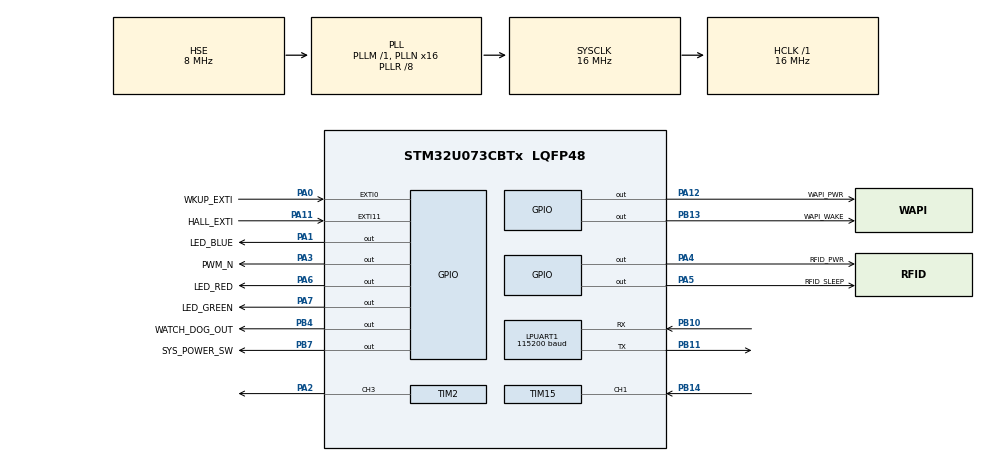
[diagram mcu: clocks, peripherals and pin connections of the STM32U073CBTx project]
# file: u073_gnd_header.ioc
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ADC1.Channel-1\#ChannelRegularConversion=ADC_CHANNEL_VREFINT
ADC1.DMAContinuousRequests=ENABLE
ADC1.EOCSelection=ADC_EOC_SEQ_CONV
ADC1.NbrOfConversion=1
ADC1.NbrOfConversionFlag=1
ADC1.OversamplingMode=ENABLE
ADC1.Rank-1\#ChannelRegularConversion=1
ADC1.RankArg-1\#ChannelRegularConversion=ADC_REGULAR_RANK_1
ADC1.Ratio=ADC_OVERSAMPLING_RATIO_256
ADC1.RightBitShift=ADC_RIGHTBITSHIFT_8
ADC1.SamplingTime-1\#ChannelRegularConversion=ADC_SAMPLINGTIME_COMMON_1
ADC1.SamplingTimeCommon1=ADC_SAMPLETIME_160CYCLES_5
ADC1.SelectedChannel=ADC_CHANNEL_VREFINT
ADC1.master=1
Dma.ADC1.2.Direction=DMA_PERIPH_TO_MEMORY
Dma.ADC1.2.EventEnable=DISABLE
Dma.ADC1.2.Instance=DMA1_Channel3
Dma.ADC1.2.MemDataAlignment=DMA_MDATAALIGN_HALFWORD
Dma.ADC1.2.MemInc=DMA_MINC_ENABLE
Dma.ADC1.2.Mode=DMA_CIRCULAR
Dma.ADC1.2.PeriphDataAlignment=DMA_PDATAALIGN_HALFWORD
Dma.ADC1.2.PeriphInc=DMA_PINC_DISABLE
Dma.ADC1.2.Polarity=HAL_DMAMUX_REQ_GEN_RISING
Dma.ADC1.2.Priority=DMA_PRIORITY_LOW
Dma.ADC1.2.RequestNumber=1
Dma.ADC1.2.SignalID=NONE
Dma.ADC1.2.SyncEnable=DISABLE
Dma.ADC1.2.SyncPolarity=HAL_DMAMUX_SYNC_NO_EVENT
Dma.ADC1.2.SyncRequestNumber=1
Dma.ADC1.2.SyncSignalID=NONE
Dma.LPUART1_RX.0.Direction=DMA_PERIPH_TO_MEMORY
Dma.LPUART1_RX.0.EventEnable=DISABLE
Dma.LPUART1_RX.0.Instance=DMA1_Channel1
Dma.LPUART1_RX.0.MemDataAlignment=DMA_MDATAALIGN_BYTE
Dma.LPUART1_RX.0.MemInc=DMA_MINC_ENABLE
Dma.LPUART1_RX.0.Mode=DMA_CIRCULAR
Dma.LPUART1_RX.0.PeriphDataAlignment=DMA_PDATAALIGN_BYTE
Dma.LPUART1_RX.0.PeriphInc=DMA_PINC_DISABLE
Dma.LPUART1_RX.0.Polarity=HAL_DMAMUX_REQ_GEN_RISING
Dma.LPUART1_RX.0.Priority=DMA_PRIORITY_LOW
Dma.LPUART1_RX.0.RequestNumber=1
Dma.LPUART1_RX.0.SignalID=NONE
Dma.LPUART1_RX.0.SyncEnable=DISABLE
Dma.LPUART1_RX.0.SyncPolarity=HAL_DMAMUX_SYNC_NO_EVENT
Dma.LPUART1_RX.0.SyncRequestNumber=1
Dma.LPUART1_RX.0.SyncSignalID=NONE
Dma.LPUART1_TX.1.Direction=DMA_MEMORY_TO_PERIPH
Dma.LPUART1_TX.1.EventEnable=DISABLE
Dma.LPUART1_TX.1.Instance=DMA1_Channel2
Dma.LPUART1_TX.1.MemDataAlignment=DMA_MDATAALIGN_BYTE
Dma.LPUART1_TX.1.MemInc=DMA_MINC_ENABLE
Dma.LPUART1_TX.1.Mode=DMA_NORMAL
Dma.LPUART1_TX.1.PeriphDataAlignment=DMA_PDATAALIGN_BYTE
Dma.LPUART1_TX.1.PeriphInc=DMA_PINC_DISABLE
Dma.LPUART1_TX.1.Polarity=HAL_DMAMUX_REQ_GEN_RISING
Dma.LPUART1_TX.1.Priority=DMA_PRIORITY_LOW
Dma.LPUART1_TX.1.RequestNumber=1
Dma.LPUART1_TX.1.SignalID=NONE
Dma.LPUART1_TX.1.SyncEnable=DISABLE
Dma.LPUART1_TX.1.SyncPolarity=HAL_DMAMUX_SYNC_NO_EVENT
Dma.LPUART1_TX.1.SyncRequestNumber=1
Dma.LPUART1_TX.1.SyncSignalID=NONE
Dma.Request0=LPUART1_RX
Dma.Request1=LPUART1_TX
Dma.Request2=ADC1
LPUART1.BaudRate=115200
Mcu.Family=STM32U0
Mcu.Name=STM32U073CBTx
Mcu.Package=LQFP48
NVIC.ADC_COMP1_2_IRQn=true\:2\:0\:true\:false\:true\:false\:true\:true\:true
NVIC.DMA1_Channel1_IRQn=true\:2\:0\:true\:false\:true\:true\:false\:true\:true
NVIC.DMA1_Channel2_3_IRQn=true\:2\:0\:true\:false\:true\:true\:false\:true\:true
NVIC.EXTI0_1_IRQn=true\:2\:0\:true\:false\:true\:false\:true\:true\:true
NVIC.EXTI4_15_IRQn=true\:2\:0\:true\:false\:true\:false\:true\:true\:true
NVIC.PVD_PVM_IRQn=true\:2\:0\:true\:false\:true\:false\:true\:true\:true
NVIC.PriorityGroup=NVIC_PRIORITYGROUP_2
NVIC.RTC_TAMP_IRQn=true\:2\:0\:true\:false\:true\:false\:true\:true\:true
NVIC.TIM15_LPTIM3_IRQn=true\:2\:0\:true\:false\:true\:false\:true\:true\:true
NVIC.TIM2_IRQn=true\:2\:0\:true\:false\:true\:false\:true\:true\:true
NVIC.TIM7_LPTIM2_IRQn=true\:1\:0\:true\:false\:true\:false\:false\:true\:true
NVIC.TimeBase=TIM7_LPTIM2_IRQn
NVIC.TimeBaseIP=TIM7
NVIC.USART3_LPUART1_IRQn=true\:2\:0\:true\:false\:true\:false\:true\:true\:true
PA0.GPIO_Label=WKUP_EXTI
PA0.GPIO_ModeDefaultEXTI=GPIO_MODE_IT_RISING_FALLING
PA0.Signal=GPXTI0
PA1.GPIO_Label=LED_BLUE
PA1.GPIO_ModeDefaultOutputPP=GPIO_MODE_OUTPUT_OD
PA1.GPIO_PuPd=GPIO_NOPULL
PA1.PinState=GPIO_PIN_SET
PA1.Signal=GPIO_Output
PA11\ [PA9].GPIO_Label=HALL_EXTI
PA11\ [PA9].GPIO_ModeDefaultEXTI=GPIO_MODE_IT_RISING_FALLING
PA11\ [PA9].GPIO_PuPd=GPIO_NOPULL
PA11\ [PA9].Signal=GPXTI11
PA12\ [PA10].GPIO_Label=WAPI_PWR
PA12\ [PA10].GPIO_ModeDefaultOutputPP=GPIO_MODE_OUTPUT_OD
PA12\ [PA10].GPIO_PuPd=GPIO_NOPULL
PA12\ [PA10].PinState=GPIO_PIN_SET
PA12\ [PA10].Signal=GPIO_Output
PA13\ (SWDIO).Mode=Serial_Wire
PA13\ (SWDIO).Signal=DEBUG_JTMS-SWDIO
PA14\ (SWCLK).Mode=Serial_Wire
PA14\ (SWCLK).Signal=DEBUG_JTCK-SWCLK
PA2.Signal=S_TIM2_CH3
PA3.GPIO_Label=PWM_N
PA3.Signal=GPIO_Output
PA4.GPIO_Label=RFID_PWR
PA4.Signal=GPIO_Output
PA5.GPIO_Label=RFID_SLEEP
PA5.Signal=GPIO_Output
PA6.GPIO_Label=LED_RED
PA6.GPIO_ModeDefaultOutputPP=GPIO_MODE_OUTPUT_OD
PA6.GPIO_PuPd=GPIO_NOPULL
PA6.PinState=GPIO_PIN_SET
PA6.Signal=GPIO_Output
PA7.GPIO_Label=LED_GREEN
PA7.GPIO_ModeDefaultOutputPP=GPIO_MODE_OUTPUT_OD
PA7.GPIO_PuPd=GPIO_NOPULL
PA7.PinState=GPIO_PIN_SET
PA7.Signal=GPIO_Output
PB10.Mode=Asynchronous
PB10.Signal=LPUART1_RX
PB11.Mode=Asynchronous
PB11.Signal=LPUART1_TX
PB13.GPIO_Label=WAPI_WAKE
PB13.GPIO_ModeDefaultOutputPP=GPIO_MODE_OUTPUT_OD
PB13.GPIO_PuPd=GPIO_NOPULL
PB13.PinState=GPIO_PIN_SET
PB13.Signal=GPIO_Output
PB14.Signal=S_TIM15_CH1
PB4.GPIO_Label=WATCH_DOG_OUT
PB4.Signal=GPIO_Output
PB7.GPIO_Label=SYS_POWER_SW
PB7.GPIO_ModeDefaultOutputPP=GPIO_MODE_OUTPUT_PP
PB7.GPIO_PuPd=GPIO_NOPULL
PB7.PinState=GPIO_PIN_SET
PB7.Signal=GPIO_Output
PC14-OSC32_IN.Mode=LSE-External-Oscillator
PC14-OSC32_IN.Signal=RCC_OSC32_IN
PC15-OSC32_OUT.Mode=LSE-External-Oscillator
PC15-OSC32_OUT.Signal=RCC_OSC32_OUT
PF0-OSC_IN.Mode=HSE-External-Oscillator
PF0-OSC_IN.Signal=RCC_OSC_IN
PF1-OSC_OUT.Mode=HSE-External-Oscillator
PF1-OSC_OUT.Signal=RCC_OSC_OUT
ProjectManager.HeapSize=0x1800
ProjectManager.StackSize=0xC00
ProjectManager.TargetToolchain=CMake
RCC.ADCFreq_Value=16000000
RCC.AHBFreq_Value=16000000
RCC.CortexFreq_Value=16000000
RCC.HCLKFreq_Value=16000000
RCC.HSE_VALUE=8000000
RCC.HSI48_VALUE=48000000
RCC.HSI_VALUE=16000000
RCC.MSI_VALUE=4000000
RCC.PLLN=16
RCC.PLLR=RCC_PLLR_DIV8
RCC.PLLSourceVirtual=RCC_PLLSOURCE_HSE
RCC.RTCClockSelection=RCC_RTCCLKSOURCE_LSE
RCC.SYSCLKFreq_VALUE=16000000
RCC.SYSCLKSource=RCC_SYSCLKSOURCE_PLLCLK
RCC.VCOOutputFreq_Value=128000000
RTC.Alarm-Alarm\ A=RTC_ALARM_A
RTC.AlarmMaskDateWeekDay-Alarm\ A=RTC_ALARMMASK_DATEWEEKDAY
RTC.WakeUpClock-WakeUp=RTC_WAKEUPCLOCK_CK_SPRE_16BITS
RTC.WakeUpCounter-WakeUp=0xbeef
SH.S_TIM15_CH1.0=TIM15_CH1,Input_Capture1_from_TI1
SH.S_TIM2_CH3.0=TIM2_CH3,PWM Generation3 CH3
THREADX.TX_APP_CREATION=1
THREADX.TX_APP_GENERATE_INIT_CODE=true
THREADX.TX_APP_MEM_POOL_SIZE=2048
THREADX.TX_APP_MSG_QUEUE_CREATION=1
THREADX.TX_APP_MUTEX_CREATION=1
THREADX.TX_APP_SEM_CREATION=1
THREADX.TX_LOW_POWER=1
THREADX.TX_MUTEX_INHERITANCE=TX_INHERIT
TIM1.Channel-Input_Capture2_from_TI2_Remap_TIM1=TIM_CHANNEL_2
TIM15.Channel-Input_Capture1_from_TI1=TIM_CHANNEL_1
TIM15.Channel-Input_Capture2_from_TI1_63=TIM_CHANNEL_2
TIM15.ICFilter_CH1=15
TIM15.ICPolarity_CH1=TIM_INPUTCHANNELPOLARITY_RISING
TIM15.ICPolarity_CH2=TIM_INPUTCHANNELPOLARITY_FALLING
TIM15.Period=65535
TIM15.Prescaler=15
TIM2.Channel-PWM\ Generation3\ CH3=TIM_CHANNEL_3
TIM2.OCFastMode_PWM-PWM\ Generation3\ CH3=TIM_OCFAST_ENABLE
TIM2.Period=7
TIM2.Prescaler=15
TIM2.Pulse-PWM\ Generation3\ CH3=4
VP_ADC1_Vref_Input.Mode=IN-Vrefint
VP_FLASH_SIG_Activate_FlashIP.Mode=Activate_FlashIP
VP_PWR_VS_SECSignals.Mode=Security/Privilege
VP_PWR_V_PVD_IN.Mode=Mode_PVD_Int
VP_RTC_VS_RTC_Activate.Mode=RTC_Enabled
VP_RTC_VS_RTC_Alarm_A_Intern.Mode=Alarm A
VP_RTC_VS_RTC_Calendar.Mode=RTC_Calendar
VP_RTC_VS_RTC_WakeUp_intern.Mode=WakeUp
VP_SYS_VS_tim7.Mode=TIM7
VP_THREADX_VS_RTOSJjThreadXJjCoreJjDefault.Mode=Core_Default
VP_THREADX_VS_RTOSJjThreadXJjLow_Power_Support.Mode=Low_Power_Support
VP_TIM15_VS_ClockSourceINT.Mode=Internal
VP_TIM15_VS_indirect_ch1.Mode=Input_Capture2_from_TI1_63
VP_TIM1_VS_ClockSourceINT.Mode=Internal
VP_TIM1_VS_NoInput2.Mode=Input_Capture2_from_TI2_Remap_TIM1
VP_TIM2_VS_ClockSourceINT.Mode=Internal
board=custom

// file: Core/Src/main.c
/* USER CODE BEGIN Header */
/**
 ******************************************************************************
 * @file           : main.c
 * @brief          : Main program body
 ******************************************************************************
 * @attention
 *
 * Copyright (c) 2026 STMicroelectronics.
 * All rights reserved.
 *
 * This software is licensed under terms that can be found in the LICENSE file
 * in the root directory of this software component.
 * If no LICENSE file comes with this software, it is provided AS-IS.
 *
 ******************************************************************************
 */
/* USER CODE END Header */
#include "app_threadx.h"
#include "main.h"

/* USER CODE BEGIN Includes */
/* #include "SEGGER_RTT.h" */
#include "dbg_console.h"
#include "WAPI_M0804C.h"
#include "upper_commu.h"
#include "low_power.h"
#ifdef WAPI_UPGRADE_TEST
#include "bsp_wapi.h"
#endif
/* USER CODE END Includes */

ADC_HandleTypeDef hadc1;
DMA_HandleTypeDef hdma_adc1;

UART_HandleTypeDef hlpuart1;
DMA_HandleTypeDef hdma_lpuart1_rx;
DMA_HandleTypeDef hdma_lpuart1_tx;

RTC_HandleTypeDef hrtc;

TIM_HandleTypeDef htim1;
TIM_HandleTypeDef htim2;
TIM_HandleTypeDef htim15;

void SystemClock_Config(void);
static void MX_GPIO_Init(void);
static void MX_DMA_Init(void);
static void MX_FLASH_Init(void);
static void MX_TIM1_Init(void);
static void MX_TIM2_Init(void);
static void MX_TIM15_Init(void);
static void MX_LPUART1_UART_Init(void);
static void MX_RTC_Init(void);
static void MX_ADC1_Init(void);

/* USER CODE BEGIN 0 */

#ifdef WAPI_UPGRADE_TEST
/**
 * @brief WAPI module firmware-upgrade entry test.
 *
 * Forces the M0804C module into its bootloader/upgrade mode by power-cycling
 * it while the boot pin (PB12) is held high. Runs once, then idles forever so
 * no RTOS kernel (and therefore no application task) is ever started.
 */
static void wapi_upgrade_test(void)
{
    GPIO_InitTypeDef GPIO_InitStruct = {0};

    /* PB12: WAPI module boot/upgrade pin, push-pull output. */
    __HAL_RCC_GPIOB_CLK_ENABLE();
    GPIO_InitStruct.Pin   = WAPI_UPGRADE_BOOT_Pin;
    GPIO_InitStruct.Mode  = GPIO_MODE_OUTPUT_PP;
    GPIO_InitStruct.Pull  = GPIO_NOPULL;
    GPIO_InitStruct.Speed = GPIO_SPEED_FREQ_LOW;
    HAL_GPIO_Init(WAPI_UPGRADE_BOOT_GPIO_Port, &GPIO_InitStruct);

    dbg_console_printf("WAPI upgrade test start\r\n");

    /* 1. Power on the WAPI module. */
    // bsp_wapi_pwr_on();
    // HAL_Delay(100);

    /* 2. Pull PB12 high to request bootloader/upgrade mode. */
    HAL_GPIO_WritePin(WAPI_UPGRADE_BOOT_GPIO_Port, WAPI_UPGRADE_BOOT_Pin, GPIO_PIN_SET);

    /* 3. Power off the module for 1 s while the boot pin stays high. */
    bsp_wapi_pwr_off();
    HAL_Delay(500);

    /* 4. Power the module back on; it now boots into upgrade mode. */
    bsp_wapi_pwr_on();
    HAL_Delay(1000);
    HAL_GPIO_WritePin(WAPI_UPGRADE_BOOT_GPIO_Port, WAPI_UPGRADE_BOOT_Pin, GPIO_PIN_RESET);
    dbg_console_printf("WAPI upgrade test done, module in upgrade mode\r\n");

    /* Hold here forever: the RTOS kernel is never started in test mode. */
    while (1)
    {
        HAL_Delay(1000);
    }
}
#endif /* WAPI_UPGRADE_TEST */

/* USER CODE END 0 */

int main(void)
{

  /* MCU Configuration--------------------------------------------------------*/

  /* Reset of all peripherals, Initializes the Flash interface and the Systick. */
  HAL_Init();

  /* Configure the system clock */
  SystemClock_Config();

  /* Initialize all configured peripherals */
  MX_GPIO_Init();
  MX_DMA_Init();
  MX_FLASH_Init();
  MX_TIM1_Init();
  MX_TIM2_Init();
  MX_TIM15_Init();
  MX_LPUART1_UART_Init();
  MX_RTC_Init();
  MX_ADC1_Init();
  /* USER CODE BEGIN 2 */
/*     SEGGER_RTT_Init();                                                  */
/*     SEGGER_RTT_printf(0, "u073 init\r\n");                              */
    dbg_console_init();
    dbg_console_printf("u073 init\r\n");
#ifdef WAPI_UPGRADE_TEST
    /* Test mode: run only the WAPI upgrade sequence. It never returns, so the
     * RTOS kernel and all application tasks are never started. */
    wapi_upgrade_test();
#else
    upper_commu_init();

  /* USER CODE END 2 */

  MX_ThreadX_Init();
#endif
  /* We should never get here as control is now taken by the scheduler */

  /* Infinite loop */
    while (1)
    {

    }
}

void SystemClock_Config(void)
{
  RCC_OscInitTypeDef RCC_OscInitStruct = {0};
  RCC_ClkInitTypeDef RCC_ClkInitStruct = {0};

  /** Configure the main internal regulator output voltage
  */
  HAL_PWREx_ControlVoltageScaling(PWR_REGULATOR_VOLTAGE_SCALE2);

  /** Configure LSE Drive Capability
  */
  HAL_PWR_EnableBkUpAccess();
  __HAL_RCC_LSEDRIVE_CONFIG(RCC_LSEDRIVE_LOW);

  /** Initializes the RCC Oscillators according to the specified parameters
  * in the RCC_OscInitTypeDef structure.
  */
  RCC_OscInitStruct.OscillatorType = RCC_OSCILLATORTYPE_HSE|RCC_OSCILLATORTYPE_LSE;
  RCC_OscInitStruct.HSEState = RCC_HSE_ON;
  RCC_OscInitStruct.LSEState = RCC_LSE_ON;
  RCC_OscInitStruct.PLL.PLLState = RCC_PLL_ON;
  RCC_OscInitStruct.PLL.PLLSource = RCC_PLLSOURCE_HSE;
  RCC_OscInitStruct.PLL.PLLM = RCC_PLLM_DIV1;
  RCC_OscInitStruct.PLL.PLLN = 16;
  RCC_OscInitStruct.PLL.PLLP = RCC_PLLP_DIV2;
  RCC_OscInitStruct.PLL.PLLQ = RCC_PLLQ_DIV2;
  RCC_OscInitStruct.PLL.PLLR = RCC_PLLR_DIV8;
  if (HAL_RCC_OscConfig(&RCC_OscInitStruct) != HAL_OK)
  {
    Error_Handler();
  }

  /** Initializes the CPU, AHB and APB buses clocks
  */
  RCC_ClkInitStruct.ClockType = RCC_CLOCKTYPE_HCLK|RCC_CLOCKTYPE_SYSCLK
                              |RCC_CLOCKTYPE_PCLK1;
  RCC_ClkInitStruct.SYSCLKSource = RCC_SYSCLKSOURCE_PLLCLK;
  RCC_ClkInitStruct.AHBCLKDivider = RCC_SYSCLK_DIV1;
  RCC_ClkInitStruct.APB1CLKDivider = RCC_HCLK_DIV1;

  if (HAL_RCC_ClockConfig(&RCC_ClkInitStruct, FLASH_LATENCY_1) != HAL_OK)
  {
    Error_Handler();
  }
}

static void MX_ADC1_Init(void)
{

  ADC_ChannelConfTypeDef sConfig = {0};

  /** Configure the global features of the ADC (Clock, Resolution, Data Alignment and number of conversion)
  */
  hadc1.Instance = ADC1;
  hadc1.Init.ClockPrescaler = ADC_CLOCK_SYNC_PCLK_DIV1;
  hadc1.Init.Resolution = ADC_RESOLUTION_12B;
  hadc1.Init.DataAlign = ADC_DATAALIGN_RIGHT;
  hadc1.Init.ScanConvMode = ADC_SCAN_DISABLE;
  hadc1.Init.EOCSelection = ADC_EOC_SEQ_CONV;
  hadc1.Init.LowPowerAutoWait = DISABLE;
  hadc1.Init.LowPowerAutoPowerOff = DISABLE;
  hadc1.Init.ContinuousConvMode = DISABLE;
  hadc1.Init.NbrOfConversion = 1;
  hadc1.Init.DiscontinuousConvMode = DISABLE;
  hadc1.Init.ExternalTrigConv = ADC_SOFTWARE_START;
  hadc1.Init.ExternalTrigConvEdge = ADC_EXTERNALTRIGCONVEDGE_NONE;
  hadc1.Init.DMAContinuousRequests = ENABLE;
  hadc1.Init.Overrun = ADC_OVR_DATA_PRESERVED;
  hadc1.Init.SamplingTimeCommon1 = ADC_SAMPLETIME_160CYCLES_5;
  hadc1.Init.SamplingTimeCommon2 = ADC_SAMPLETIME_1CYCLE_5;
  hadc1.Init.OversamplingMode = ENABLE;
  hadc1.Init.Oversampling.Ratio = ADC_OVERSAMPLING_RATIO_256;
  hadc1.Init.Oversampling.RightBitShift = ADC_RIGHTBITSHIFT_8;
  hadc1.Init.Oversampling.TriggeredMode = ADC_TRIGGEREDMODE_SINGLE_TRIGGER;
  hadc1.Init.TriggerFrequencyMode = ADC_TRIGGER_FREQ_HIGH;
  if (HAL_ADC_Init(&hadc1) != HAL_OK)
  {
    Error_Handler();
  }

  /** Configure Regular Channel
  */
  sConfig.Channel = ADC_CHANNEL_VREFINT;
  sConfig.Rank = ADC_REGULAR_RANK_1;
  sConfig.SamplingTime = ADC_SAMPLINGTIME_COMMON_1;
  if (HAL_ADC_ConfigChannel(&hadc1, &sConfig) != HAL_OK)
  {
    Error_Handler();
  }

}

static void MX_FLASH_Init(void)
{

  if (HAL_FLASH_Unlock() != HAL_OK)
  {
    Error_Handler();
  }
  if (HAL_FLASH_Lock() != HAL_OK)
  {
    Error_Handler();
  }

}

static void MX_LPUART1_UART_Init(void)
{

  hlpuart1.Instance = LPUART1;
  hlpuart1.Init.BaudRate = 115200;
  hlpuart1.Init.WordLength = UART_WORDLENGTH_8B;
  hlpuart1.Init.StopBits = UART_STOPBITS_1;
  hlpuart1.Init.Parity = UART_PARITY_NONE;
  hlpuart1.Init.Mode = UART_MODE_TX_RX;
  hlpuart1.Init.HwFlowCtl = UART_HWCONTROL_NONE;
  hlpuart1.Init.OneBitSampling = UART_ONE_BIT_SAMPLE_DISABLE;
  hlpuart1.AdvancedInit.AdvFeatureInit = UART_ADVFEATURE_NO_INIT;
  hlpuart1.FifoMode = UART_FIFOMODE_DISABLE;
  if (HAL_UART_Init(&hlpuart1) != HAL_OK)
  {
    Error_Handler();
  }
  if (HAL_UARTEx_SetTxFifoThreshold(&hlpuart1, UART_TXFIFO_THRESHOLD_1_8) != HAL_OK)
  {
    Error_Handler();
  }
  if (HAL_UARTEx_SetRxFifoThreshold(&hlpuart1, UART_RXFIFO_THRESHOLD_1_8) != HAL_OK)
  {
    Error_Handler();
  }
  if (HAL_UARTEx_DisableFifoMode(&hlpuart1) != HAL_OK)
  {
    Error_Handler();
  }

}

static void MX_RTC_Init(void)
{

  RTC_TimeTypeDef sTime = {0};
  RTC_DateTypeDef sDate = {0};
  RTC_AlarmTypeDef sAlarm = {0};

  /** Initialize RTC Only
  */
  hrtc.Instance = RTC;
  hrtc.Init.HourFormat = RTC_HOURFORMAT_24;
  hrtc.Init.AsynchPrediv = 127;
  hrtc.Init.SynchPrediv = 255;
  hrtc.Init.OutPut = RTC_OUTPUT_DISABLE;
  hrtc.Init.OutPutRemap = RTC_OUTPUT_REMAP_NONE;
  hrtc.Init.OutPutPolarity = RTC_OUTPUT_POLARITY_HIGH;
  hrtc.Init.OutPutType = RTC_OUTPUT_TYPE_OPENDRAIN;
  hrtc.Init.OutPutPullUp = RTC_OUTPUT_PULLUP_NONE;
  hrtc.Init.BinMode = RTC_BINARY_NONE;
  if (HAL_RTC_Init(&hrtc) != HAL_OK)
  {
    Error_Handler();
  }

  /** Initialize RTC and set the Time and Date
  */
  sTime.Hours = 0x0;
  sTime.Minutes = 0x0;
  sTime.Seconds = 0x0;
  sTime.DayLightSaving = RTC_DAYLIGHTSAVING_NONE;
  sTime.StoreOperation = RTC_STOREOPERATION_RESET;
  if (HAL_RTC_SetTime(&hrtc, &sTime, RTC_FORMAT_BCD) != HAL_OK)
  {
    Error_Handler();
  }
  sDate.WeekDay = RTC_WEEKDAY_MONDAY;
  sDate.Month = RTC_MONTH_JANUARY;
  sDate.Date = 0x1;
  sDate.Year = 0x0;

  if (HAL_RTC_SetDate(&hrtc, &sDate, RTC_FORMAT_BCD) != HAL_OK)
  {
    Error_Handler();
  }

  /** Enable the Alarm A
  */
  sAlarm.AlarmTime.Hours = 0x0;
  sAlarm.AlarmTime.Minutes = 0x0;
  sAlarm.AlarmTime.Seconds = 0x0;
  sAlarm.AlarmTime.SubSeconds = 0x0;
  sAlarm.AlarmMask = RTC_ALARMMASK_DATEWEEKDAY;
  sAlarm.AlarmSubSecondMask = RTC_ALARMSUBSECONDMASK_ALL;
  sAlarm.AlarmDateWeekDaySel = RTC_ALARMDATEWEEKDAYSEL_DATE;
  sAlarm.AlarmDateWeekDay = 0x1;
  sAlarm.Alarm = RTC_ALARM_A;
  if (HAL_RTC_SetAlarm_IT(&hrtc, &sAlarm, RTC_FORMAT_BCD) != HAL_OK)
  {
    Error_Handler();
  }

  /** Enable the WakeUp
  */
  if (HAL_RTCEx_SetWakeUpTimer_IT(&hrtc, 0xbeef, RTC_WAKEUPCLOCK_CK_SPRE_16BITS, 0) != HAL_OK)
  {
    Error_Handler();
  }

}

static void MX_TIM1_Init(void)
{

  TIM_ClockConfigTypeDef sClockSourceConfig = {0};
  TIM_MasterConfigTypeDef sMasterConfig = {0};
  TIM_IC_InitTypeDef sConfigIC = {0};

  htim1.Instance = TIM1;
  htim1.Init.Prescaler = 0;
  htim1.Init.CounterMode = TIM_COUNTERMODE_UP;
  htim1.Init.Period = 65535;
  htim1.Init.ClockDivision = TIM_CLOCKDIVISION_DIV1;
  htim1.Init.RepetitionCounter = 0;
  htim1.Init.AutoReloadPreload = TIM_AUTORELOAD_PRELOAD_DISABLE;
  if (HAL_TIM_Base_Init(&htim1) != HAL_OK)
  {
    Error_Handler();
  }
  sClockSourceConfig.ClockSource = TIM_CLOCKSOURCE_INTERNAL;
  if (HAL_TIM_ConfigClockSource(&htim1, &sClockSourceConfig) != HAL_OK)
  {
    Error_Handler();
  }
  if (HAL_TIM_IC_Init(&htim1) != HAL_OK)
  {
    Error_Handler();
  }
  sMasterConfig.MasterOutputTrigger = TIM_TRGO_RESET;
  sMasterConfig.MasterOutputTrigger2 = TIM_TRGO2_RESET;
  sMasterConfig.MasterSlaveMode = TIM_MASTERSLAVEMODE_DISABLE;
  if (HAL_TIMEx_MasterConfigSynchronization(&htim1, &sMasterConfig) != HAL_OK)
  {
    Error_Handler();
  }
  sConfigIC.ICPolarity = TIM_INPUTCHANNELPOLARITY_RISING;
  sConfigIC.ICSelection = TIM_ICSELECTION_DIRECTTI;
  sConfigIC.ICPrescaler = TIM_ICPSC_DIV1;
  sConfigIC.ICFilter = 0;
  if (HAL_TIM_IC_ConfigChannel(&htim1, &sConfigIC, TIM_CHANNEL_2) != HAL_OK)
  {
    Error_Handler();
  }
  if (HAL_TIMEx_TISelection(&htim1, TIM_TIM1_TI2_COMP2, TIM_CHANNEL_2) != HAL_OK)
  {
    Error_Handler();
  }

}

static void MX_TIM2_Init(void)
{

  TIM_ClockConfigTypeDef sClockSourceConfig = {0};
  TIM_MasterConfigTypeDef sMasterConfig = {0};
  TIM_OC_InitTypeDef sConfigOC = {0};

  htim2.Instance = TIM2;
  htim2.Init.Prescaler = 15;
  htim2.Init.CounterMode = TIM_COUNTERMODE_UP;
  htim2.Init.Period = 7;
  htim2.Init.ClockDivision = TIM_CLOCKDIVISION_DIV1;
  htim2.Init.AutoReloadPreload = TIM_AUTORELOAD_PRELOAD_DISABLE;
  if (HAL_TIM_Base_Init(&htim2) != HAL_OK)
  {
    Error_Handler();
  }
  sClockSourceConfig.ClockSource = TIM_CLOCKSOURCE_INTERNAL;
  if (HAL_TIM_ConfigClockSource(&htim2, &sClockSourceConfig) != HAL_OK)
  {
    Error_Handler();
  }
  if (HAL_TIM_PWM_Init(&htim2) != HAL_OK)
  {
    Error_Handler();
  }
  sMasterConfig.MasterOutputTrigger = TIM_TRGO_RESET;
  sMasterConfig.MasterSlaveMode = TIM_MASTERSLAVEMODE_DISABLE;
  if (HAL_TIMEx_MasterConfigSynchronization(&htim2, &sMasterConfig) != HAL_OK)
  {
    Error_Handler();
  }
  sConfigOC.OCMode = TIM_OCMODE_PWM1;
  sConfigOC.Pulse = 4;
  sConfigOC.OCPolarity = TIM_OCPOLARITY_HIGH;
  sConfigOC.OCFastMode = TIM_OCFAST_ENABLE;
  if (HAL_TIM_PWM_ConfigChannel(&htim2, &sConfigOC, TIM_CHANNEL_3) != HAL_OK)
  {
    Error_Handler();
  }
  HAL_TIM_MspPostInit(&htim2);

}

static void MX_TIM15_Init(void)
{

  TIM_ClockConfigTypeDef sClockSourceConfig = {0};
  TIM_MasterConfigTypeDef sMasterConfig = {0};
  TIM_IC_InitTypeDef sConfigIC = {0};

  htim15.Instance = TIM15;
  htim15.Init.Prescaler = 15;
  htim15.Init.CounterMode = TIM_COUNTERMODE_UP;
  htim15.Init.Period = 65535;
  htim15.Init.ClockDivision = TIM_CLOCKDIVISION_DIV1;
  htim15.Init.RepetitionCounter = 0;
  htim15.Init.AutoReloadPreload = TIM_AUTORELOAD_PRELOAD_DISABLE;
  if (HAL_TIM_Base_Init(&htim15) != HAL_OK)
  {
    Error_Handler();
  }
  sClockSourceConfig.ClockSource = TIM_CLOCKSOURCE_INTERNAL;
  if (HAL_TIM_ConfigClockSource(&htim15, &sClockSourceConfig) != HAL_OK)
  {
    Error_Handler();
  }
  if (HAL_TIM_IC_Init(&htim15) != HAL_OK)
  {
    Error_Handler();
  }
  sMasterConfig.MasterOutputTrigger = TIM_TRGO_RESET;
  sMasterConfig.MasterSlaveMode = TIM_MASTERSLAVEMODE_DISABLE;
  if (HAL_TIMEx_MasterConfigSynchronization(&htim15, &sMasterConfig) != HAL_OK)
  {
    Error_Handler();
  }
  sConfigIC.ICPolarity = TIM_INPUTCHANNELPOLARITY_RISING;
  sConfigIC.ICSelection = TIM_ICSELECTION_DIRECTTI;
  sConfigIC.ICPrescaler = TIM_ICPSC_DIV1;
  sConfigIC.ICFilter = 15;
  if (HAL_TIM_IC_ConfigChannel(&htim15, &sConfigIC, TIM_CHANNEL_1) != HAL_OK)
  {
    Error_Handler();
  }
  sConfigIC.ICPolarity = TIM_INPUTCHANNELPOLARITY_FALLING;
  sConfigIC.ICSelection = TIM_ICSELECTION_INDIRECTTI;
  sConfigIC.ICFilter = 0;
  if (HAL_TIM_IC_ConfigChannel(&htim15, &sConfigIC, TIM_CHANNEL_2) != HAL_OK)
  {
    Error_Handler();
  }

}

static void MX_DMA_Init(void)
{

  /* DMA controller clock enable */
  __HAL_RCC_DMA1_CLK_ENABLE();

  /* DMA interrupt init */
  /* DMA1_Channel1_IRQn interrupt configuration */
  HAL_NVIC_SetPriority(DMA1_Channel1_IRQn, 2, 0);
  HAL_NVIC_EnableIRQ(DMA1_Channel1_IRQn);
  /* DMA1_Channel2_3_IRQn interrupt configuration */
  HAL_NVIC_SetPriority(DMA1_Channel2_3_IRQn, 2, 0);
  HAL_NVIC_EnableIRQ(DMA1_Channel2_3_IRQn);

}

static void MX_GPIO_Init(void)
{
  GPIO_InitTypeDef GPIO_InitStruct = {0};

  /* GPIO Ports Clock Enable */
  __HAL_RCC_GPIOC_CLK_ENABLE();
  __HAL_RCC_GPIOF_CLK_ENABLE();
  __HAL_RCC_GPIOA_CLK_ENABLE();
  __HAL_RCC_GPIOB_CLK_ENABLE();

  /*Configure GPIO pin Output Level */
  HAL_GPIO_WritePin(GPIOA, LED_BLUE_Pin|LED_RED_Pin|LED_GREEN_Pin|WAPI_PWR_Pin, GPIO_PIN_SET);

  /*Configure GPIO pin Output Level */
  HAL_GPIO_WritePin(GPIOA, PWM_N_Pin|RFID_PWR_Pin|RFID_SLEEP_Pin, GPIO_PIN_RESET);

  /*Configure GPIO pin Output Level */
  HAL_GPIO_WritePin(GPIOB, WAPI_WAKE_Pin|SYS_POWER_SW_Pin, GPIO_PIN_SET);

  /*Configure GPIO pin Output Level */
  HAL_GPIO_WritePin(WATCH_DOG_OUT_GPIO_Port, WATCH_DOG_OUT_Pin, GPIO_PIN_RESET);

  /*Configure GPIO pins : WKUP_EXTI_Pin HALL_EXTI_Pin */
  GPIO_InitStruct.Pin = WKUP_EXTI_Pin|HALL_EXTI_Pin;
  GPIO_InitStruct.Mode = GPIO_MODE_IT_RISING_FALLING;
  GPIO_InitStruct.Pull = GPIO_NOPULL;
  HAL_GPIO_Init(GPIOA, &GPIO_InitStruct);

  /*Configure GPIO pins : LED_BLUE_Pin LED_RED_Pin LED_GREEN_Pin WAPI_PWR_Pin */
  GPIO_InitStruct.Pin = LED_BLUE_Pin|LED_RED_Pin|LED_GREEN_Pin|WAPI_PWR_Pin;
  GPIO_InitStruct.Mode = GPIO_MODE_OUTPUT_OD;
  GPIO_InitStruct.Pull = GPIO_NOPULL;
  GPIO_InitStruct.Speed = GPIO_SPEED_FREQ_LOW;
  HAL_GPIO_Init(GPIOA, &GPIO_InitStruct);

  /*Configure GPIO pins : PWM_N_Pin RFID_PWR_Pin RFID_SLEEP_Pin */
  GPIO_InitStruct.Pin = PWM_N_Pin|RFID_PWR_Pin|RFID_SLEEP_Pin;
  GPIO_InitStruct.Mode = GPIO_MODE_OUTPUT_PP;
  GPIO_InitStruct.Pull = GPIO_NOPULL;
  GPIO_InitStruct.Speed = GPIO_SPEED_FREQ_LOW;
  HAL_GPIO_Init(GPIOA, &GPIO_InitStruct);

  /*Configure GPIO pin : WAPI_WAKE_Pin */
  GPIO_InitStruct.Pin = WAPI_WAKE_Pin;
  GPIO_InitStruct.Mode = GPIO_MODE_OUTPUT_OD;
  GPIO_InitStruct.Pull = GPIO_NOPULL;
  GPIO_InitStruct.Speed = GPIO_SPEED_FREQ_LOW;
  HAL_GPIO_Init(WAPI_WAKE_GPIO_Port, &GPIO_InitStruct);

  /*Configure GPIO pins : WATCH_DOG_OUT_Pin SYS_POWER_SW_Pin */
  GPIO_InitStruct.Pin = WATCH_DOG_OUT_Pin|SYS_POWER_SW_Pin;
  GPIO_InitStruct.Mode = GPIO_MODE_OUTPUT_PP;
  GPIO_InitStruct.Pull = GPIO_NOPULL;
  GPIO_InitStruct.Speed = GPIO_SPEED_FREQ_LOW;
  HAL_GPIO_Init(GPIOB, &GPIO_InitStruct);

  /* EXTI interrupt init*/
  HAL_NVIC_SetPriority(EXTI0_1_IRQn, 2, 0);
  HAL_NVIC_EnableIRQ(EXTI0_1_IRQn);

  HAL_NVIC_SetPriority(EXTI4_15_IRQn, 2, 0);
  HAL_NVIC_EnableIRQ(EXTI4_15_IRQn);

}

/* USER CODE BEGIN 4 */
extern m0804c_handler_t g_wapi_handler_inst;

typedef struct
{
    UART_HandleTypeDef *uart_handle;
    DMA_HandleTypeDef *dma_handle;
} uart_recv_handler_t;

/* wapi */
#define WAPI_RECV_BUF_SIZE      2048
static uint8_t wapi_recv_buffer[WAPI_RECV_BUF_SIZE];
uart_recv_handler_t wapi_recv_handler =
    {
        .uart_handle = &hlpuart1,
        .dma_handle = &hdma_lpuart1_rx,
};

static void usart_init(void)
{
    __HAL_UART_ENABLE_IT(wapi_recv_handler.uart_handle, UART_IT_IDLE);
    HAL_UART_Receive_DMA(wapi_recv_handler.uart_handle, wapi_recv_buffer, sizeof(wapi_recv_buffer));
    return;
}

static void usart_write(uint8_t *const p_data, uint16_t len)
{
    HAL_UART_Transmit_DMA(wapi_recv_handler.uart_handle, p_data, len);
    // HAL_UART_Transmit(wapi_recv_handler.uart_handle, p_data, len, 1000);
    MAIN_DEBUG_GREEN_STRING(p_data, len);
    MAIN_DEBUG_OUT("\r\n");
}

void test_uart(void)
{
    for(uint8_t i=0; i<5; i++)
    {
        uint8_t test_data[] = "AT+ECHO=0\r\n";
        HAL_UART_Transmit_DMA(wapi_recv_handler.uart_handle, test_data, sizeof(test_data));
        osal_task_delay_ms(100);
    }
    // usart_write(test_data, sizeof(test_data));
}

static uint16_t get_couter(void)
{
    return ((uint16_t)__HAL_DMA_GET_COUNTER(wapi_recv_handler.dma_handle));
}

static void set_counter(uint16_t counter)
{
    (wapi_recv_handler.dma_handle)->Instance->CNDTR = counter;
}

static void uart_deinit(void)
{
    return;
}

uart_ops_t g_wapi_uart_ops =
{
        .pf_uart_init = usart_init,
        .pf_uart_write = usart_write,
        .pf_get_counter = get_couter,
        .pf_set_counter = set_counter,
        .pf_uart_deinit = uart_deinit
};

recv_buf_att_t g_wapi_uart_rx_buf =
{
        .buffer_size = sizeof(wapi_recv_buffer),
        .recv_buf = wapi_recv_buffer
};

/* upper */
#if WAPI_CFG_MODE == WAPI_CFG_BY_WIRED
#define UPP_RECV_BUF_SIZE 256
static uint8_t upp_recv_buffer[UPP_RECV_BUF_SIZE];

uart_recv_handler_t upp_recv_handler =
{
        .uart_handle = &huart3,
        .dma_handle = &hdma_usart3_rx,
};

static void upp_usart_init(void)
{
    __HAL_UART_ENABLE_IT(upp_recv_handler.uart_handle, UART_IT_IDLE);
    HAL_UART_Receive_DMA(upp_recv_handler.uart_handle, upp_recv_buffer, sizeof(upp_recv_buffer));
    return;
}

static void upp_usart_write(uint8_t *const p_data, uint16_t len)
{
    HAL_UART_Transmit_DMA(upp_recv_handler.uart_handle, p_data, len);
}

static uint16_t upp_get_couter(void)
{
    return ((uint16_t)__HAL_DMA_GET_COUNTER(upp_recv_handler.dma_handle));
}

static void upp_set_counter(uint16_t counter)
{
    (upp_recv_handler.dma_handle)->Instance->CNDTR = counter;
}

static void upp_uart_deinit(void)
{
    return;
}

uart_ops_t g_upp_uart_ops =
{
        .pf_uart_init = upp_usart_init,
        .pf_uart_write = upp_usart_write,
        .pf_get_counter = upp_get_couter,
        .pf_set_counter = upp_set_counter,
        .pf_uart_deinit = upp_uart_deinit
};

recv_buf_att_t g_upp_uart_rx_buf =
{
        .buffer_size = sizeof(upp_recv_buffer),
        .recv_buf = upp_recv_buffer
};
#endif

/* uart common */
void HAL_UART_TxCpltCallback(UART_HandleTypeDef *huart)
{
    if (wapi_recv_handler.uart_handle == huart)
    {
        m0804c_at_send_complete_isr_cb(&g_wapi_handler_inst);
    }
}

void HAL_UART_ErrorCallback(UART_HandleTypeDef *huart)
{
    if (wapi_recv_handler.uart_handle == huart)
    {
        HAL_UART_Receive_DMA(wapi_recv_handler.uart_handle, wapi_recv_buffer, sizeof(wapi_recv_buffer));
        m0804c_at_error_recv_isr_cb(&g_wapi_handler_inst);
    }
#if WAPI_CFG_MODE == WAPI_CFG_BY_WIRED
    else if (upp_recv_handler.uart_handle == huart)
    {
        HAL_UART_Receive_DMA(upp_recv_handler.uart_handle, upp_recv_buffer, sizeof(upp_recv_buffer));
        reset_upp_uart();
    }
#endif
}
/* USER CODE END 4 */

void HAL_TIM_PeriodElapsedCallback(TIM_HandleTypeDef *htim)
{
  if (htim->Instance == TIM7)
  {
    HAL_IncTick();
  }
}

void Error_Handler(void)
{
    __disable_irq();
    while (1)
    {
    }
}
